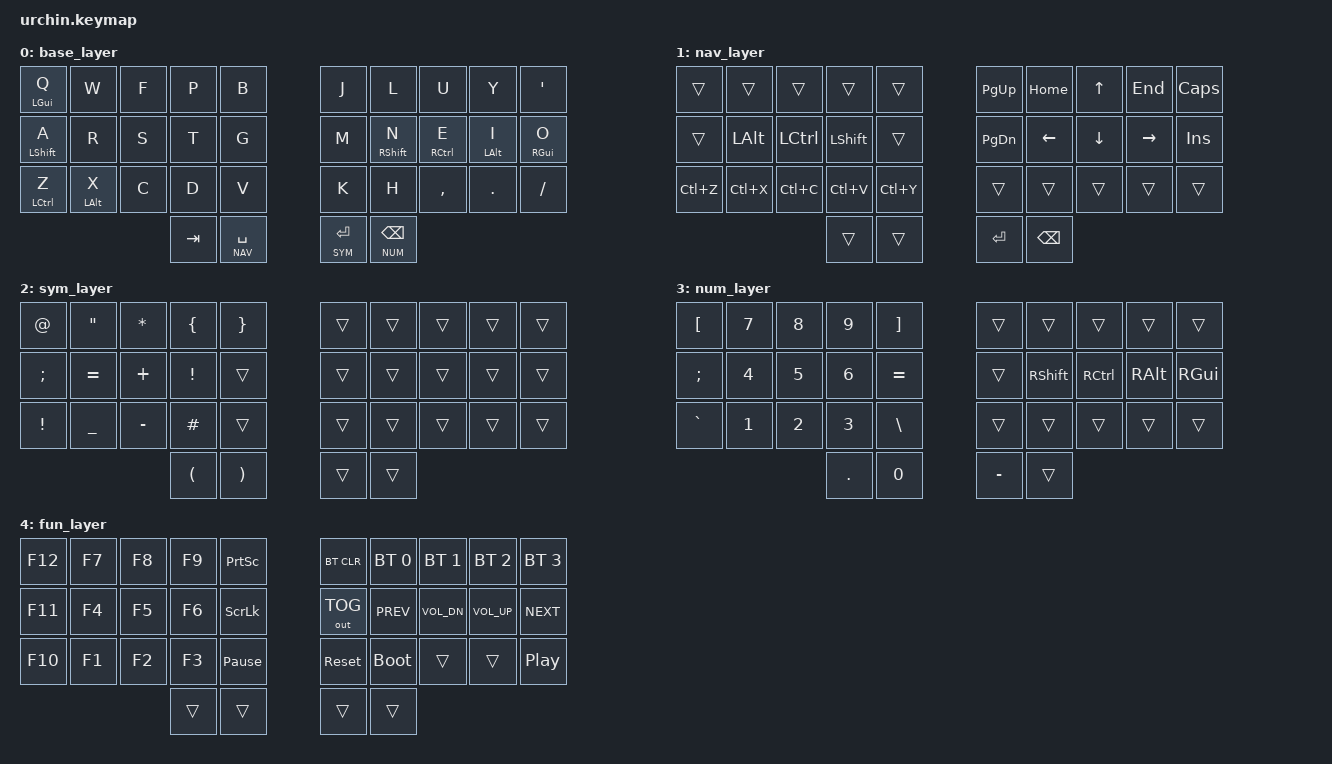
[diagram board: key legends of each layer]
#include <behaviors.dtsi>
#include <dt-bindings/zmk/keys.h>
#include <dt-bindings/zmk/bt.h>
#include <dt-bindings/zmk/outputs.h>

/* Layers */
#define BASE 0
#define NAV  1
#define NUM  2
#define SYM  3
#define FUN  4

/* Urchin (34 keys)
 *  0  1  2  3  4    5  6  7  8  9
 * 10 11 12 13 14   15 16 17 18 19
 * 20 21 22 23 24   25 26 27 28 29
 *          30 31   32 33
 */

/* =========================================================
 * BASE LAYER
 * ┌────┬────┬────┬────┬────┐    ┌────┬────┬────┬────┬────┐
 * │ Q  │ W  │ F  │ P  │ B  │    │ J  │ L  │ U  │ Y  │ '  │
 * ├────┼────┼────┼────┼────┤    ├────┼────┼────┼────┼────┤
 * │ A  │ R  │ S  │ T  │ G  │    │ M  │ N  │ E  │ I  │ O  │
 * ├────┼────┼────┼────┼────┤    ├────┼────┼────┼────┼────┤
 * │ Z  │ X  │ C  │ D  │ V  │    │ K  │ H  │ ,  │ .  │ /  │
 * └────┴────┴────┴────┴────┘    └────┴────┴────┴────┴────┘
 *              ┌────┬────┐    ┌────┬────┐
 *              │TAB │NAV │    │SYM │NUM │
 *              └────┴────┘    └────┴────┘
 * ========================================================= */

/* =========================================================
 * NAV LAYER
 * ┌────┬────┬────┬────┬────┐    ┌────┬────┬────┬────┬────┐
 * │    │    │    │    │    │    │PgUp│Home│ ↑  │End │Caps│
 * ├────┼────┼────┼────┼────┤    ├────┼────┼────┼────┼────┤
 * │    │ALT │CTRL│SHFT│    │    │PgDn│ ←  │ ↓  │ →  │Ins │
 * ├────┼────┼────┼────┼────┤    ├────┼────┼────┼────┼────┤
 * │⌃Z  │⌃X  │⌃C  │⌃V  │⌃Y  │    │    │    │    │    │    │
 * └────┴────┴────┴────┴────┘    └────┴────┴────┴────┴────┘
 *              ┌────┬────┐    ┌────┬────┐
 *              │    │    │    │ENT │BSP │
 *              └────┴────┘    └────┴────┘
 * ========================================================= */

/* =========================================================
 * SYM LAYER
 * ┌────┬────┬────┬────┬────┐    ┌────┬────┬────┬────┬────┐
 * │ @  │ "  │ *  │ [  │ ]  │    │    │    │    │    │    │
 * ├────┼────┼────┼────┼────┤    ├────┼────┼────┼────┼────┤
 * │ ;  │ =  │ +  │ !  │    │    │    │    │    │    │    │
 * ├────┼────┼────┼────┼────┤    ├────┼────┼────┼────┼────┤
 * │ !  │ _  │ -  │ #  │    │    │    │    │    │    │    │
 * └────┴────┴────┴────┴────┘    └────┴────┴────┴────┴────┘
 *              ┌────┬────┐    ┌────┬────┐
 *              │ (  │ )  │    │    │    │
 *              └────┴────┘    └────┴────┘
 * ========================================================= */

/* =========================================================
 * NUM LAYER
 * ┌────┬────┬────┬────┬────┐    ┌────┬────┬────┬────┬────┐
 * │ [  │ 7  │ 8  │ 9  │ ]  │    │    │    │    │    │    │
 * ├────┼────┼────┼────┼────┤    ├────┼────┼────┼────┼────┤
 * │ ;  │ 4  │ 5  │ 6  │ =  │    │    │SHFT│CTRL│ALT │GUI │
 * ├────┼────┼────┼────┼────┤    ├────┼────┼────┼────┼────┤
 * │ `  │ 1  │ 2  │ 3  │ \  │    │    │    │    │    │    │
 * └────┴────┴────┴────┴────┘    └────┴────┴────┴────┴────┘
 *              ┌────┬────┐    ┌────┬────┐
 *              │ .  │ 0  │    │ -  │    │
 *              └────┴────┘    └────┴────┘
 * ========================================================= */

/* =========================================================
 * FUN LAYER
 * ┌────┬────┬────┬────┬────┐    ┌────┬────┬────┬────┬────┐
 * │F12 │F7  │F8  │F9  │Prt │    │CLR │BT0 │BT1 │BT2 │BT3 │
 * ├────┼────┼────┼────┼────┤    ├────┼────┼────┼────┼────┤
 * │F11 │F4  │F5  │F6  │Scr │    │OUT │Prev│Vol-│Vol+│Next│
 * ├────┼────┼────┼────┼────┤    ├────┼────┼────┼────┼────┤
 * │F10 │F1  │F2  │F3  │Paus│    │RST │BOOT│    │    │Play│
 * └────┴────┴────┴────┴────┘    └────┴────┴────┴────┴────┘
 *              ┌────┬────┐    ┌────┬────┐
 *              │    │    │    │    │    │
 *              └────┴────┘    └────┴────┘
 * ========================================================= */

/* =========================================================
*                       [ F + P ] → ESC
*                       [ L + U ] → DEL
*                       [ T + N ] → CAPS WORD
* ========================================================= */


 / {
    behaviors {
        hm: home_row_mod {
            compatible = "zmk,behavior-hold-tap";
            #binding-cells = <2>;

            tapping-term-ms = <280>;
            quick-tap-ms = <175>;
            require-prior-idle-ms = <150>;
            flavor = "balanced";

            bindings = <&kp>, <&kp>;
        };
    };

    conditional_layers {
        compatible = "zmk,conditional-layers";

        tri_fun {
            if-layers = <NAV NUM>;
            then-layer = <FUN>;
        };
    };

    combos {
        compatible = "zmk,combos";

        combo_esc {
            timeout-ms = <40>;
            key-positions = <2 3>;
            bindings = <&kp ESC>;
            layers = <BASE>;
        };

        combo_del {
            timeout-ms = <40>;
            key-positions = <6 7>;
            bindings = <&kp DEL>;
            layers = <BASE>;
        };

        combo_caps {
            timeout-ms = <40>;
            key-positions = <13 16>;
            bindings = <&caps_word>;
            layers = <BASE>;
        };
    };

    keymap {
        compatible = "zmk,keymap";

        base_layer {
            bindings = <
&hm LGUI Q     &kp W         &kp F         &kp P         &kp B        &kp J         &kp L         &kp U         &kp Y         &kp SQT
&hm LSHFT A    &kp R         &kp S         &kp T         &kp G        &kp M         &hm RSHFT N   &hm RCTRL E   &hm LALT I    &hm RGUI O
&hm LCTRL Z    &hm LALT X    &kp C         &kp D         &kp V        &kp K         &kp H         &kp COMMA     &kp DOT       &kp FSLH
                                        &kp TAB       &lt NAV SPACE  &lt SYM RET    &lt NUM BSPC
            >;
        };

        nav_layer {
            bindings = <
&trans          &trans        &trans        &trans        &trans        &kp PG_UP     &kp HOME      &kp UP        &kp END       &kp CAPS
&trans          &kp LALT      &kp LCTRL     &kp LSHFT     &trans        &kp PG_DN     &kp LEFT      &kp DOWN      &kp RIGHT     &kp INS
&kp LC(Z)       &kp LC(X)     &kp LC(C)     &kp LC(V)     &kp LC(Y)     &trans        &trans        &trans        &trans        &trans
                                        &trans        &trans         &kp RET       &kp BSPC
            >;
        };

        sym_layer {
            bindings = <
&kp AT          &kp DQT       &kp ASTRK     &kp LBRC      &kp RBRC      &trans        &trans        &trans        &trans        &trans
&kp SEMI        &kp EQUAL     &kp PLUS      &kp EXCL      &trans        &trans        &trans        &trans        &trans        &trans
&kp EXCL        &kp UNDER     &kp MINUS     &kp HASH      &trans        &trans        &trans        &trans        &trans        &trans
                                        &kp LPAR      &kp RPAR       &trans        &trans
            >;
        };

        num_layer {
            bindings = <
&kp LBKT        &kp N7        &kp N8        &kp N9        &kp RBKT      &trans        &trans        &trans        &trans        &trans
&kp SEMI        &kp N4        &kp N5        &kp N6        &kp EQUAL     &trans        &kp RSHFT     &kp RCTRL     &kp RALT      &kp RGUI
&kp GRAVE       &kp N1        &kp N2        &kp N3        &kp BSLH      &trans        &trans        &trans        &trans        &trans
                                        &kp DOT       &kp N0         &kp MINUS     &trans
            >;
        };

        fun_layer {
            bindings = <
&kp F12         &kp F7        &kp F8        &kp F9        &kp PSCRN       &bt BT_CLR    &bt BT_SEL 0  &bt BT_SEL 1  &bt BT_SEL 2  &bt BT_SEL 3
&kp F11         &kp F4        &kp F5        &kp F6        &kp SLCK        &out OUT_TOG  &kp C_PREV    &kp C_VOL_DN  &kp C_VOL_UP  &kp C_NEXT
&kp F10         &kp F1        &kp F2        &kp F3        &kp PAUSE_BREAK &sys_reset    &bootloader   &trans        &trans        &kp C_PP
                                        &trans        &trans         &trans        &trans
            >;
        };
    };
};
